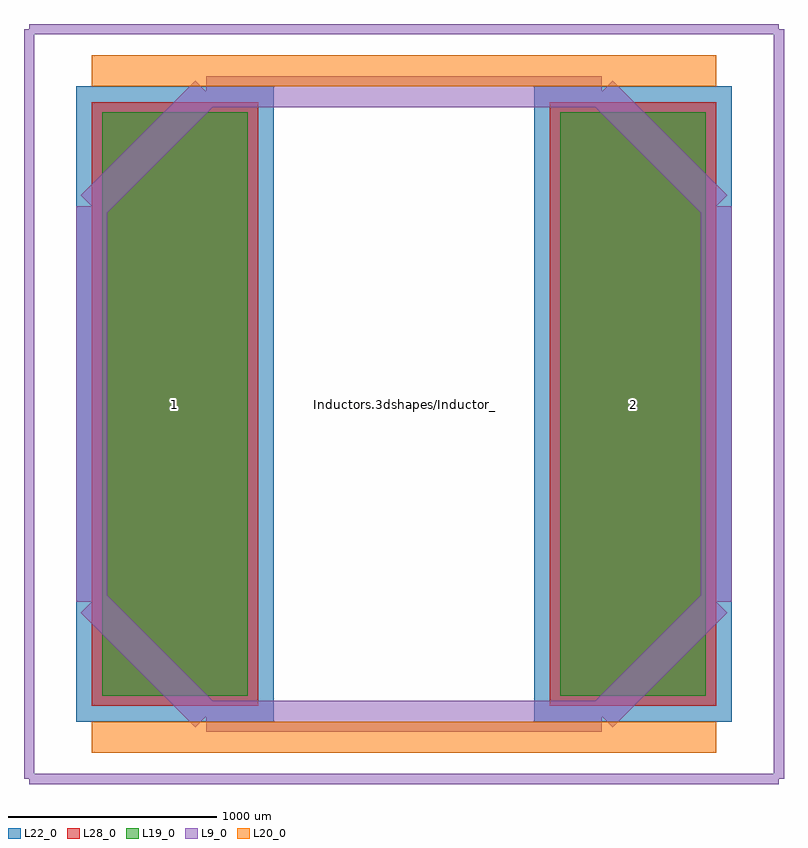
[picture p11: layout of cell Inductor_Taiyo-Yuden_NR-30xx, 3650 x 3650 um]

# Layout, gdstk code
import gdstk
lib = gdstk.Library(unit=1e-6, precision=1e-09)
def R(c, l, rs):  # rectangles x0, y0, x1, y1
    for r in rs: c.add(gdstk.rectangle(r[:2], r[2:], *l))
L9_0 = (9, 0)
L19_0 = (19, 0)
L20_0 = (20, 0)
L22_0 = (22, 0)
L28_0 = (28, 0)

inductor_taiyo_yuden_nr_ = lib.new_cell('Inductor_Taiyo-Yuden_NR-30xx')
R(inductor_taiyo_yuden_nr_, L19_0, [(-1450,-1400,-750,1400), (750,-1400,1450,1400)])
R(inductor_taiyo_yuden_nr_, L22_0, [(-1575,-1525,-625,1525), (625,-1525,1575,1525)])
R(inductor_taiyo_yuden_nr_, L28_0, [(-1500,-1450,-700,1450), (700,-1450,1500,1450)])
inductor_taiyo_yuden_nr_.add(gdstk.FlexPath([(1800,1800),(-1800,1800)], 50, ends="flush", simple_path=True, layer=9, datatype=0))  # L9_0
inductor_taiyo_yuden_nr_.add(gdstk.FlexPath([(1800,-1800),(1800,1800)], 50, ends="flush", simple_path=True, layer=9, datatype=0))  # L9_0
inductor_taiyo_yuden_nr_.add(gdstk.FlexPath([(-1800,-1800),(1800,-1800)], 50, ends="flush", simple_path=True, layer=9, datatype=0))  # L9_0
inductor_taiyo_yuden_nr_.add(gdstk.FlexPath([(-1800,1800),(-1800,-1800)], 50, ends="flush", simple_path=True, layer=9, datatype=0))  # L9_0
inductor_taiyo_yuden_nr_.add(gdstk.FlexPath([(-1500,-1600),(1500,-1600)], 149.998, ends="flush", simple_path=True, layer=20, datatype=0))  # L20_0
inductor_taiyo_yuden_nr_.add(gdstk.FlexPath([(-1500,1600),(1500,1600)], 149.998, ends="flush", simple_path=True, layer=20, datatype=0))  # L20_0
inductor_taiyo_yuden_nr_.add(gdstk.FlexPath([(-950,-1500),(0,-1500)], 149.998, ends="flush", simple_path=True, layer=9, datatype=0))  # L9_0
inductor_taiyo_yuden_nr_.add(gdstk.FlexPath([(-1500,-950),(-950,-1500)], 149.998, ends="flush", simple_path=True, layer=9, datatype=0))  # L9_0
inductor_taiyo_yuden_nr_.add(gdstk.FlexPath([(-1500,0),(-1500,-950)], 149.998, ends="flush", simple_path=True, layer=9, datatype=0))  # L9_0
inductor_taiyo_yuden_nr_.add(gdstk.FlexPath([(950,-1500),(0,-1500)], 149.998, ends="flush", simple_path=True, layer=9, datatype=0))  # L9_0
inductor_taiyo_yuden_nr_.add(gdstk.FlexPath([(1500,-950),(950,-1500)], 149.998, ends="flush", simple_path=True, layer=9, datatype=0))  # L9_0
inductor_taiyo_yuden_nr_.add(gdstk.FlexPath([(1500,0),(1500,-950)], 149.998, ends="flush", simple_path=True, layer=9, datatype=0))  # L9_0
inductor_taiyo_yuden_nr_.add(gdstk.FlexPath([(950,1500),(0,1500)], 149.998, ends="flush", simple_path=True, layer=9, datatype=0))  # L9_0
inductor_taiyo_yuden_nr_.add(gdstk.FlexPath([(1500,950),(950,1500)], 149.998, ends="flush", simple_path=True, layer=9, datatype=0))  # L9_0
inductor_taiyo_yuden_nr_.add(gdstk.FlexPath([(1500,0),(1500,950)], 149.998, ends="flush", simple_path=True, layer=9, datatype=0))  # L9_0
inductor_taiyo_yuden_nr_.add(gdstk.FlexPath([(-950,1500),(0,1500)], 149.998, ends="flush", simple_path=True, layer=9, datatype=0))  # L9_0
inductor_taiyo_yuden_nr_.add(gdstk.FlexPath([(-1500,950),(-950,1500)], 149.998, ends="flush", simple_path=True, layer=9, datatype=0))  # L9_0
inductor_taiyo_yuden_nr_.add(gdstk.FlexPath([(-1500,0),(-1500,950)], 149.998, ends="flush", simple_path=True, layer=9, datatype=0))  # L9_0
inductor_taiyo_yuden_nr_.add(gdstk.Label('Inductors.3dshapes/Inductor_Taiyo-Yuden_NR-30xx.wrl', (0,0), layer=12, texttype=0))
inductor_taiyo_yuden_nr_.add(gdstk.Label('2', (1100,0), layer=28, texttype=0))
inductor_taiyo_yuden_nr_.add(gdstk.Label('1', (-1100,0), layer=28, texttype=0))
inductor_taiyo_yuden_nr_.add(gdstk.Label('type', (0,-3000), layer=9, texttype=0))
inductor_taiyo_yuden_nr_.add(gdstk.Label('devicename', (0,2500), layer=9, texttype=0))

lib.write_gds('Inductor_Taiyo-Yuden_NR-30xx.gds')
